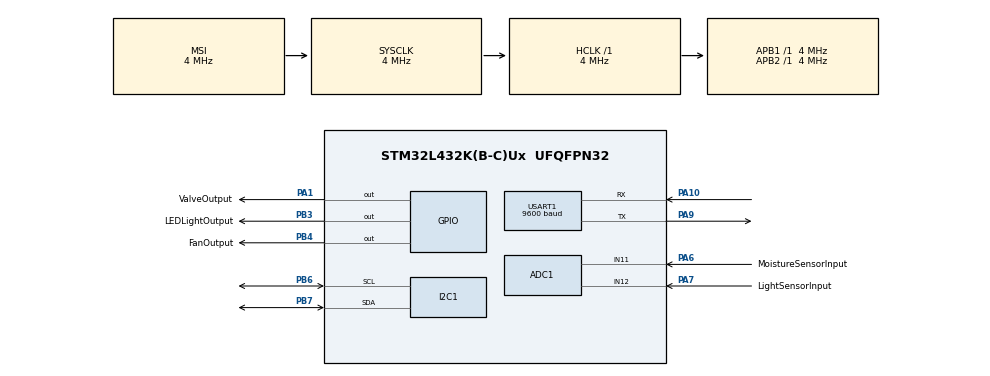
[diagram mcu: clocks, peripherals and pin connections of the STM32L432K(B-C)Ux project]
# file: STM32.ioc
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ADC1.Channel-1\#ChannelRegularConversion=ADC_CHANNEL_12
ADC1.Channel-2\#ChannelRegularConversion=ADC_CHANNEL_11
ADC1.ContinuousConvMode=ENABLE
ADC1.NbrOfConversion=2
ADC1.NbrOfConversionFlag=1
ADC1.OffsetNumber-1\#ChannelRegularConversion=ADC_OFFSET_NONE
ADC1.OffsetNumber-2\#ChannelRegularConversion=ADC_OFFSET_NONE
ADC1.Rank-1\#ChannelRegularConversion=1
ADC1.Rank-2\#ChannelRegularConversion=2
ADC1.SamplingTime-1\#ChannelRegularConversion=ADC_SAMPLETIME_6CYCLES_5
ADC1.SamplingTime-2\#ChannelRegularConversion=ADC_SAMPLETIME_2CYCLES_5
ADC1.master=1
Mcu.Family=STM32L4
Mcu.Name=STM32L432K(B-C)Ux
Mcu.Package=UFQFPN32
NVIC.PriorityGroup=NVIC_PRIORITYGROUP_4
NVIC.TIM1_UP_TIM16_IRQn=true\:0\:0\:false\:false\:true\:false\:true
NVIC.TimeBase=TIM1_UP_TIM16_IRQn
NVIC.TimeBaseIP=TIM1
NVIC.USART1_IRQn=true\:0\:0\:false\:false\:true\:true\:true
PA1.GPIO_Label=ValveOutput
PA1.Signal=GPIO_Output
PA10.Mode=Asynchronous
PA10.Signal=USART1_RX
PA13\ (JTMS-SWDIO).Mode=Serial_Wire
PA13\ (JTMS-SWDIO).Signal=SYS_JTMS-SWDIO
PA14\ (JTCK-SWCLK).Mode=Serial_Wire
PA14\ (JTCK-SWCLK).Signal=SYS_JTCK-SWCLK
PA6.GPIO_Label=MoistureSensorInput
PA6.Signal=ADCx_IN11
PA7.GPIO_Label=LightSensorInput
PA7.Signal=ADCx_IN12
PA9.Mode=Asynchronous
PA9.Signal=USART1_TX
PB3\ (JTDO-TRACESWO).GPIO_Label=LEDLightOutput
PB3\ (JTDO-TRACESWO).Signal=GPIO_Output
PB4\ (NJTRST).GPIO_Label=FanOutput
PB4\ (NJTRST).Signal=GPIO_Output
PB6.Mode=I2C
PB6.Signal=I2C1_SCL
PB7.Mode=I2C
PB7.Signal=I2C1_SDA
PC14-OSC32_IN\ (PC14).Mode=LSE-External-Oscillator
PC14-OSC32_IN\ (PC14).Signal=RCC_OSC32_IN
PC15-OSC32_OUT\ (PC15).Mode=LSE-External-Oscillator
PC15-OSC32_OUT\ (PC15).Signal=RCC_OSC32_OUT
ProjectManager.HeapSize=0x200
ProjectManager.StackSize=0x400
ProjectManager.TargetToolchain=MDK-ARM V5
RCC.ADCFreq_Value=32000000
RCC.AHBFreq_Value=4000000
RCC.APB1Freq_Value=4000000
RCC.APB1TimFreq_Value=4000000
RCC.APB2Freq_Value=4000000
RCC.APB2TimFreq_Value=4000000
RCC.CortexFreq_Value=4000000
RCC.HCLKFreq_Value=4000000
RCC.HSE_VALUE=8000000
RCC.HSI48_VALUE=48000000
RCC.HSI_VALUE=16000000
RCC.MSI_VALUE=4000000
RCC.PLLN=16
RCC.PLLSAI1N=16
RCC.SYSCLKFreq_VALUE=4000000
RCC.USBFreq_Value=32000000
RCC.VCOOutputFreq_Value=64000000
SH.ADCx_IN11.0=ADC1_IN11,IN11-Single-Ended
SH.ADCx_IN12.0=ADC1_IN12,IN12-Single-Ended
TIM2.Period=0xffffffff
TIM2.Prescaler=0
USART1.BaudRate=9600
USART1.VirtualMode-Asynchronous=VM_ASYNC
VP_SYS_VS_tim1.Mode=TIM1
VP_TIM2_VS_ClockSourceINT.Mode=Internal
board=custom

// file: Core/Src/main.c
/* USER CODE BEGIN Header */
/**
  ******************************************************************************
  * @file           : main.c
  * @brief          : Main program body
  ******************************************************************************
  * @attention
  *
  * <h2><center>&copy; Copyright (c) 2021 STMicroelectronics.
  * All rights reserved.</center></h2>
  *
  * This software component is licensed by ST under BSD 3-Clause license,
  * the "License"; You may not use this file except in compliance with the
  * License. You may obtain a copy of the License at:
  *                        opensource.org/licenses/BSD-3-Clause
  *
  ******************************************************************************
  */
/* USER CODE END Header */
#include "main.h"

/* USER CODE BEGIN Includes */

#include "Header.h"
#include <string.h>
#include <stdio.h>

/* USER CODE END Includes */

/* USER CODE BEGIN PD */
#define ADC_0V_VALUE                                             0
#define ADC_1V_VALUE                                             1241
#define ADC_2V_VALUE                                             2482
#define ADC_3V_VALUE                                             3723

#define usTIM TIM2
#define TRIG_GPIO_Port GPIOA
#define ECHO_GPIO_Port GPIOA
#define TRIG_Pin GPIO_PIN_6
#define ECHO_Pin GPIO_PIN_1

#define DHT11_PORT GPIOA
#define DHT11_PIN GPIO_PIN_1

/* USER CODE END PD */

ADC_HandleTypeDef hadc1;

I2C_HandleTypeDef hi2c1;

TIM_HandleTypeDef htim2;

UART_HandleTypeDef huart1;

/* USER CODE BEGIN PV */

void ADC_Select_LightSensor (void)
{
	ADC_ChannelConfTypeDef sConfig = {0};
	  /** Configure for the selected ADC regular channel its corresponding rank in the sequencer and its sample time.
	  */
		sConfig.Channel = ADC_CHANNEL_12;
		sConfig.Rank = ADC_REGULAR_RANK_1;
		sConfig.SamplingTime = ADC_SAMPLETIME_6CYCLES_5;
		sConfig.SingleDiff = ADC_SINGLE_ENDED;
		sConfig.OffsetNumber = ADC_OFFSET_NONE;
		sConfig.Offset = 0;
	  if (HAL_ADC_ConfigChannel(&hadc1, &sConfig) != HAL_OK)
	  {
	    Error_Handler();
	  }
}

void ADC_Select_MoistureSensor (void)
{
	ADC_ChannelConfTypeDef sConfig = {0};
	  /** Configure for the selected ADC regular channel its corresponding rank in the sequencer and its sample time.
	  */
		sConfig.Channel = ADC_CHANNEL_11;
		sConfig.Rank = ADC_REGULAR_RANK_1;
		sConfig.SamplingTime = ADC_SAMPLETIME_2CYCLES_5;
		sConfig.SingleDiff = ADC_SINGLE_ENDED;
		sConfig.OffsetNumber = ADC_OFFSET_NONE;
		sConfig.Offset = 0;
	  if (HAL_ADC_ConfigChannel(&hadc1, &sConfig) != HAL_OK)
	  {
	    Error_Handler();
	  }
}

void usDelay(uint32_t uSec)
{
	if(uSec < 2) uSec = 2;
	usTIM->ARR = uSec - 1; 	/*sets the value in the auto-reload register*/
	usTIM->EGR = 1; 			/*Re-initialises the timer*/
	usTIM->SR &= ~1; 		//Resets the flag
	usTIM->CR1 |= 1; 		//Enables the counter
	while((usTIM->SR&0x0001) != 1);
	usTIM->SR &= ~(0x0001);
}

uint8_t tick_50ms_elapsed = 0;

uint8_t needs_water = 0;
uint8_t is_hot = 0;
unsigned int temp_threshold = 28;
unsigned int moisture_threshold_upper = 3500;
unsigned int moisture_threshold_lower = 3000;
unsigned int dark_threshold = 1000;
unsigned int light_time_threshold = 600;

void TaskSetValve(){
  static uint8_t valve_on = 0;
	if(needs_water){
		HAL_GPIO_WritePin(ValveOutput_GPIO_Port,ValveOutput_Pin,1);
	} else {
		HAL_GPIO_WritePin(ValveOutput_GPIO_Port,ValveOutput_Pin,0);
	}
	ReRunMe(&TaskSetValve, 1000, 0);
}

void TaskCheckMoisture(){
	ADC_Select_MoistureSensor();
	HAL_ADC_Start(&hadc1);
	HAL_ADC_PollForConversion(&hadc1, 100);
	volatile uint32_t result = HAL_ADC_GetValue(&hadc1);
	char outbuf[17] = {0};
	sprintf(outbuf,"Moist: %d\r\n",result);
	HAL_UART_Transmit(&huart1,outbuf,7+strlen(outbuf)*sizeof(uint8_t), HAL_MAX_DELAY);
	if (result > moisture_threshold_upper)
	{
		needs_water = 1;
	} else if (result < moisture_threshold_lower){
		needs_water = 0;
	}
	HAL_ADC_Stop(&hadc1);
	ReRunMe(&TaskCheckMoisture, 1000, 0);
}

DelayedQueue delayedQueue;
ReadyQueue readyQueue;

uint8_t hexToAscii(uint8_t n)//4-bit hex value converted to an ascii character
{
 if (n>=0 && n<=9) n = n + '0';
 else n = n - 10 + 'A';
 return n;
}

void TaskFan(){
  static uint8_t fan_on = 0;
	if(is_hot){
		HAL_GPIO_WritePin(FanOutput_GPIO_Port,FanOutput_Pin,1);
	} else {
		HAL_GPIO_WritePin(FanOutput_GPIO_Port,FanOutput_Pin,0);
	}
	ReRunMe(&TaskFan, 100000, 1);
}

void TaskTemp(){
	 uint8_t temp[2];
	 HAL_I2C_Mem_Read(&hi2c1, 0xD0, 0x11, 1, temp, 2, 1000);
	 float t = ((temp[0])+(temp[1]>>6)/4.0);
	 char y[20] ={0};
	 sprintf(y,"Temp: %.2f\r\n",t);
	 HAL_UART_Transmit(&huart1,y, sizeof(y), 10);
	 if(t>temp_threshold)
		 is_hot = 1;
	 else
		 is_hot = 0;
	 ReRunMe(&TaskTemp, 100000, 0);
}

void TaskLight(){
	ADC_Select_LightSensor();
	static int light_time = 0;
	static int day_count = 0;
	day_count++;
	HAL_ADC_Start(&hadc1);
	HAL_ADC_PollForConversion(&hadc1, 100);
	volatile uint32_t result = HAL_ADC_GetValue(&hadc1);
	char outbuf[17] = {0};
	sprintf(outbuf,"Light: %d\r\n",result);
	HAL_UART_Transmit(&huart1,outbuf,7+strlen(outbuf)*sizeof(uint8_t), HAL_MAX_DELAY);
	if ((result > dark_threshold) || (HAL_GPIO_ReadPin(LEDLightOutput_GPIO_Port, LEDLightOutput_Pin)))
	{
		light_time++;
	}
	if ( (light_time > light_time_threshold)){
		HAL_GPIO_WritePin(LEDLightOutput_GPIO_Port, LEDLightOutput_Pin,0);
	} else if ((result < dark_threshold)) {
		HAL_GPIO_WritePin(LEDLightOutput_GPIO_Port, dark_threshold,1);
	} else {
		HAL_GPIO_WritePin(LEDLightOutput_GPIO_Port, dark_threshold,0);
	}
	if (day_count == 1440){
		 day_count = 0;
		 light_time = 0;
	}
	HAL_ADC_Stop(&hadc1);
	ReRunMe(&TaskLight, 1000, 1);
}

/* USER CODE END PV */

void SystemClock_Config(void);
static void MX_GPIO_Init(void);
static void MX_USART1_UART_Init(void);
static void MX_ADC1_Init(void);
static void MX_TIM2_Init(void);
static void MX_I2C1_Init(void);

int main(void)
{

  /* MCU Configuration--------------------------------------------------------*/

  /* Reset of all peripherals, Initializes the Flash interface and the Systick. */
  HAL_Init();

  /* Configure the system clock */
  SystemClock_Config();

  /* USER CODE BEGIN SysInit */

	if (SysTick_Config(500*SystemCoreClock / 1000000)) {
        while (1) {  }
  }

  /* USER CODE END SysInit */

  /* Initialize all configured peripherals */
  MX_GPIO_Init();
  MX_USART1_UART_Init();
  MX_ADC1_Init();
  MX_TIM2_Init();
  MX_I2C1_Init();
  /* USER CODE BEGIN 2 */
	Init(); // initialize the scheduler data structures
	QueTask(&readyQueue, &TaskTemp, 0);
	QueTask(&readyQueue, &TaskFan, 1);
	QueTask(&readyQueue, &TaskSetValve, 0);
	QueTask(&readyQueue, &TaskCheckMoisture, 0);
	QueTask(&readyQueue, &TaskLight, 1);

//	uint8_t uart_buffer[5] = {0,0,0,0,0};
//	HAL_UART_Transmit(&huart1, "Enter temperature threshold (range: 0000 - 3723): ", strlen("Enter temperature threshold (range: 0000 - 3723): ")*sizeof(uint8_t), HAL_MAX_DELAY);
//	HAL_UART_Receive(&huart1, uart_buffer, 4*sizeof(uint8_t), HAL_MAX_DELAY);
//	uint8_t out_buffer[7];
//	out_buffer[0] = uart_buffer[0];
//	out_buffer[1] = uart_buffer[1];
//	out_buffer[2] = uart_buffer[2];
//	out_buffer[3] = uart_buffer[3];
//	out_buffer[4] = '\r';
//	out_buffer[5] = '\n';

//	HAL_UART_Transmit(&huart1, out_buffer, 7*sizeof(uint8_t), HAL_MAX_DELAY);
//
//	temp_threshold = atoi((uart_buffer));

  //check that device is ready to operate
  if (HAL_I2C_IsDeviceReady(&hi2c1, 0xD0, 10, HAL_MAX_DELAY) == HAL_OK)
  {
 		 for (int i = 1; i<=10;i++) // indicator of ready device
	 	 {
		 	 HAL_GPIO_TogglePin(GPIOB, GPIO_PIN_3);
			 HAL_Delay(250);
		 }
  }

  /* USER CODE END 2 */

  /* Infinite loop */
  while (1)
  {

    /* USER CODE BEGIN 3 */
		if (tick_50ms_elapsed) {
			DispatchDelayed(&delayedQueue,&readyQueue);
			tick_50ms_elapsed = 0;
    }

		Dispatch(&readyQueue);

  }
  /* USER CODE END 3 */
}

void SystemClock_Config(void)
{
  RCC_OscInitTypeDef RCC_OscInitStruct = {0};
  RCC_ClkInitTypeDef RCC_ClkInitStruct = {0};
  RCC_PeriphCLKInitTypeDef PeriphClkInit = {0};

  /** Configure LSE Drive Capability
  */
  HAL_PWR_EnableBkUpAccess();
  __HAL_RCC_LSEDRIVE_CONFIG(RCC_LSEDRIVE_LOW);
  /** Initializes the RCC Oscillators according to the specified parameters
  * in the RCC_OscInitTypeDef structure.
  */
  RCC_OscInitStruct.OscillatorType = RCC_OSCILLATORTYPE_LSE|RCC_OSCILLATORTYPE_MSI;
  RCC_OscInitStruct.LSEState = RCC_LSE_ON;
  RCC_OscInitStruct.MSIState = RCC_MSI_ON;
  RCC_OscInitStruct.MSICalibrationValue = 0;
  RCC_OscInitStruct.MSIClockRange = RCC_MSIRANGE_6;
  RCC_OscInitStruct.PLL.PLLState = RCC_PLL_NONE;
  if (HAL_RCC_OscConfig(&RCC_OscInitStruct) != HAL_OK)
  {
    Error_Handler();
  }
  /** Initializes the CPU, AHB and APB buses clocks
  */
  RCC_ClkInitStruct.ClockType = RCC_CLOCKTYPE_HCLK|RCC_CLOCKTYPE_SYSCLK
                              |RCC_CLOCKTYPE_PCLK1|RCC_CLOCKTYPE_PCLK2;
  RCC_ClkInitStruct.SYSCLKSource = RCC_SYSCLKSOURCE_MSI;
  RCC_ClkInitStruct.AHBCLKDivider = RCC_SYSCLK_DIV1;
  RCC_ClkInitStruct.APB1CLKDivider = RCC_HCLK_DIV1;
  RCC_ClkInitStruct.APB2CLKDivider = RCC_HCLK_DIV1;

  if (HAL_RCC_ClockConfig(&RCC_ClkInitStruct, FLASH_LATENCY_0) != HAL_OK)
  {
    Error_Handler();
  }
  PeriphClkInit.PeriphClockSelection = RCC_PERIPHCLK_USART1|RCC_PERIPHCLK_I2C1
                              |RCC_PERIPHCLK_ADC;
  PeriphClkInit.Usart1ClockSelection = RCC_USART1CLKSOURCE_PCLK2;
  PeriphClkInit.I2c1ClockSelection = RCC_I2C1CLKSOURCE_PCLK1;
  PeriphClkInit.AdcClockSelection = RCC_ADCCLKSOURCE_PLLSAI1;
  PeriphClkInit.PLLSAI1.PLLSAI1Source = RCC_PLLSOURCE_MSI;
  PeriphClkInit.PLLSAI1.PLLSAI1M = 1;
  PeriphClkInit.PLLSAI1.PLLSAI1N = 16;
  PeriphClkInit.PLLSAI1.PLLSAI1P = RCC_PLLP_DIV7;
  PeriphClkInit.PLLSAI1.PLLSAI1Q = RCC_PLLQ_DIV2;
  PeriphClkInit.PLLSAI1.PLLSAI1R = RCC_PLLR_DIV2;
  PeriphClkInit.PLLSAI1.PLLSAI1ClockOut = RCC_PLLSAI1_ADC1CLK;
  if (HAL_RCCEx_PeriphCLKConfig(&PeriphClkInit) != HAL_OK)
  {
    Error_Handler();
  }
  /** Configure the main internal regulator output voltage
  */
  if (HAL_PWREx_ControlVoltageScaling(PWR_REGULATOR_VOLTAGE_SCALE1) != HAL_OK)
  {
    Error_Handler();
  }
  /** Enable MSI Auto calibration
  */
  HAL_RCCEx_EnableMSIPLLMode();
}

static void MX_ADC1_Init(void)
{

  ADC_ChannelConfTypeDef sConfig = {0};

  /** Common config
  */
  hadc1.Instance = ADC1;
  hadc1.Init.ClockPrescaler = ADC_CLOCK_ASYNC_DIV1;
  hadc1.Init.Resolution = ADC_RESOLUTION_12B;
  hadc1.Init.DataAlign = ADC_DATAALIGN_RIGHT;
  hadc1.Init.ScanConvMode = ADC_SCAN_ENABLE;
  hadc1.Init.EOCSelection = ADC_EOC_SINGLE_CONV;
  hadc1.Init.LowPowerAutoWait = DISABLE;
  hadc1.Init.ContinuousConvMode = ENABLE;
  hadc1.Init.NbrOfConversion = 2;
  hadc1.Init.DiscontinuousConvMode = DISABLE;
  hadc1.Init.ExternalTrigConv = ADC_SOFTWARE_START;
  hadc1.Init.ExternalTrigConvEdge = ADC_EXTERNALTRIGCONVEDGE_NONE;
  hadc1.Init.DMAContinuousRequests = DISABLE;
  hadc1.Init.Overrun = ADC_OVR_DATA_PRESERVED;
  hadc1.Init.OversamplingMode = DISABLE;
  if (HAL_ADC_Init(&hadc1) != HAL_OK)
  {
    Error_Handler();
  }
  /** Configure Regular Channel
  */
//  sConfig.Channel = ADC_CHANNEL_12;
//  sConfig.Rank = ADC_REGULAR_RANK_1;
//  sConfig.SamplingTime = ADC_SAMPLETIME_6CYCLES_5;
//  sConfig.SingleDiff = ADC_SINGLE_ENDED;
//  sConfig.OffsetNumber = ADC_OFFSET_NONE;
//  sConfig.Offset = 0;
//  if (HAL_ADC_ConfigChannel(&hadc1, &sConfig) != HAL_OK)
//  {
//    Error_Handler();
//  }
//  /** Configure Regular Channel
//  */
//  sConfig.Channel = ADC_CHANNEL_11;
//  sConfig.Rank = ADC_REGULAR_RANK_2;
//  sConfig.SamplingTime = ADC_SAMPLETIME_2CYCLES_5;
//  if (HAL_ADC_ConfigChannel(&hadc1, &sConfig) != HAL_OK)
//  {
//    Error_Handler();
//  }

}

static void MX_I2C1_Init(void)
{

  hi2c1.Instance = I2C1;
  hi2c1.Init.Timing = 0x00000E14;
  hi2c1.Init.OwnAddress1 = 0;
  hi2c1.Init.AddressingMode = I2C_ADDRESSINGMODE_7BIT;
  hi2c1.Init.DualAddressMode = I2C_DUALADDRESS_DISABLE;
  hi2c1.Init.OwnAddress2 = 0;
  hi2c1.Init.OwnAddress2Masks = I2C_OA2_NOMASK;
  hi2c1.Init.GeneralCallMode = I2C_GENERALCALL_DISABLE;
  hi2c1.Init.NoStretchMode = I2C_NOSTRETCH_DISABLE;
  if (HAL_I2C_Init(&hi2c1) != HAL_OK)
  {
    Error_Handler();
  }
  /** Configure Analogue filter
  */
  if (HAL_I2CEx_ConfigAnalogFilter(&hi2c1, I2C_ANALOGFILTER_ENABLE) != HAL_OK)
  {
    Error_Handler();
  }
  /** Configure Digital filter
  */
  if (HAL_I2CEx_ConfigDigitalFilter(&hi2c1, 0) != HAL_OK)
  {
    Error_Handler();
  }

}

static void MX_TIM2_Init(void)
{

  TIM_ClockConfigTypeDef sClockSourceConfig = {0};
  TIM_MasterConfigTypeDef sMasterConfig = {0};

  htim2.Instance = TIM2;
  htim2.Init.Prescaler = 0;
  htim2.Init.CounterMode = TIM_COUNTERMODE_UP;
  htim2.Init.Period = 0xffffffff;
  htim2.Init.ClockDivision = TIM_CLOCKDIVISION_DIV1;
  htim2.Init.AutoReloadPreload = TIM_AUTORELOAD_PRELOAD_DISABLE;
  if (HAL_TIM_Base_Init(&htim2) != HAL_OK)
  {
    Error_Handler();
  }
  sClockSourceConfig.ClockSource = TIM_CLOCKSOURCE_INTERNAL;
  if (HAL_TIM_ConfigClockSource(&htim2, &sClockSourceConfig) != HAL_OK)
  {
    Error_Handler();
  }
  sMasterConfig.MasterOutputTrigger = TIM_TRGO_RESET;
  sMasterConfig.MasterSlaveMode = TIM_MASTERSLAVEMODE_DISABLE;
  if (HAL_TIMEx_MasterConfigSynchronization(&htim2, &sMasterConfig) != HAL_OK)
  {
    Error_Handler();
  }

}

static void MX_USART1_UART_Init(void)
{

  huart1.Instance = USART1;
  huart1.Init.BaudRate = 9600;
  huart1.Init.WordLength = UART_WORDLENGTH_8B;
  huart1.Init.StopBits = UART_STOPBITS_1;
  huart1.Init.Parity = UART_PARITY_NONE;
  huart1.Init.Mode = UART_MODE_TX_RX;
  huart1.Init.HwFlowCtl = UART_HWCONTROL_NONE;
  huart1.Init.OverSampling = UART_OVERSAMPLING_16;
  huart1.Init.OneBitSampling = UART_ONE_BIT_SAMPLE_DISABLE;
  huart1.AdvancedInit.AdvFeatureInit = UART_ADVFEATURE_NO_INIT;
  if (HAL_UART_Init(&huart1) != HAL_OK)
  {
    Error_Handler();
  }

}

static void MX_GPIO_Init(void)
{
  GPIO_InitTypeDef GPIO_InitStruct = {0};

  /* GPIO Ports Clock Enable */
  __HAL_RCC_GPIOC_CLK_ENABLE();
  __HAL_RCC_GPIOA_CLK_ENABLE();
  __HAL_RCC_GPIOB_CLK_ENABLE();

  /*Configure GPIO pin Output Level */
  HAL_GPIO_WritePin(ValveOutput_GPIO_Port, ValveOutput_Pin, GPIO_PIN_RESET);

  /*Configure GPIO pin Output Level */
  HAL_GPIO_WritePin(GPIOB, LEDLightOutput_Pin|FanOutput_Pin, GPIO_PIN_RESET);

  /*Configure GPIO pin : ValveOutput_Pin */
  GPIO_InitStruct.Pin = ValveOutput_Pin;
  GPIO_InitStruct.Mode = GPIO_MODE_OUTPUT_PP;
  GPIO_InitStruct.Pull = GPIO_NOPULL;
  GPIO_InitStruct.Speed = GPIO_SPEED_FREQ_LOW;
  HAL_GPIO_Init(ValveOutput_GPIO_Port, &GPIO_InitStruct);

  /*Configure GPIO pins : LEDLightOutput_Pin FanOutput_Pin */
  GPIO_InitStruct.Pin = LEDLightOutput_Pin|FanOutput_Pin;
  GPIO_InitStruct.Mode = GPIO_MODE_OUTPUT_PP;
  GPIO_InitStruct.Pull = GPIO_NOPULL;
  GPIO_InitStruct.Speed = GPIO_SPEED_FREQ_LOW;
  HAL_GPIO_Init(GPIOB, &GPIO_InitStruct);

}

 /**
  * @brief  Period elapsed callback in non blocking mode
  * @note   This function is called  when TIM1 interrupt took place, inside
  * HAL_TIM_IRQHandler(). It makes a direct call to HAL_IncTick() to increment
  * a global variable "uwTick" used as application time base.
  * @param  htim : TIM handle
  * @retval None
  */
void HAL_TIM_PeriodElapsedCallback(TIM_HandleTypeDef *htim)
{
  if (htim->Instance == TIM1) {
    HAL_IncTick();
  }
}

void Error_Handler(void)
{
  __disable_irq();
  while (1)
  {
  }
}

/************************ (C) COPYRIGHT STMicroelectronics *****END OF FILE****/
